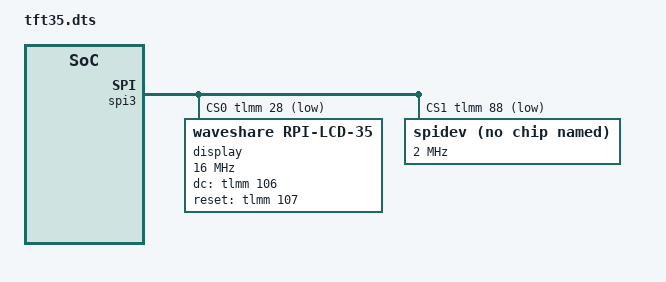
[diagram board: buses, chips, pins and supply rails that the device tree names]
// Joy-IT RB-TFT3.5 on the Arduino VENTUNO Q 40-pin JHAT header.
// Display: kernel ili9486 driver. Touch chip: exposed as /dev/spidev0.1 (polled from userspace),
// because its interrupt pin (JHAT pin 11 = SoC GPIO 85) is shared with the Bluetooth UART.
/dts-v1/;
/plugin/;

&spi3 {
	#address-cells = <1>;
	#size-cells = <0>;
	pinctrl-0 = <&qup_spi3_data_clk>, <&qup_spi3_cs_gpio>;
	cs-gpios = <&tlmm 28 1>, <&tlmm 88 1>;	/* JHAT 24 (LCD_CS), JHAT 26 (TP_CS), active low */

	display@0 {
		/* only this name: "ilitek,ili9486" would also match the staging fbtft driver */
		compatible = "waveshare,rpi-lcd-35";
		reg = <0>;
		spi-max-frequency = <16000000>;
		rotation = <0>;
		dc-gpios = <&tlmm 106 0>;	/* JHAT 18 */
		reset-gpios = <&tlmm 107 0>;	/* JHAT 22 */
	};

	spidev@1 {
		compatible = "rohm,dh2228fv";
		reg = <1>;
		spi-max-frequency = <2000000>;
	};
};
